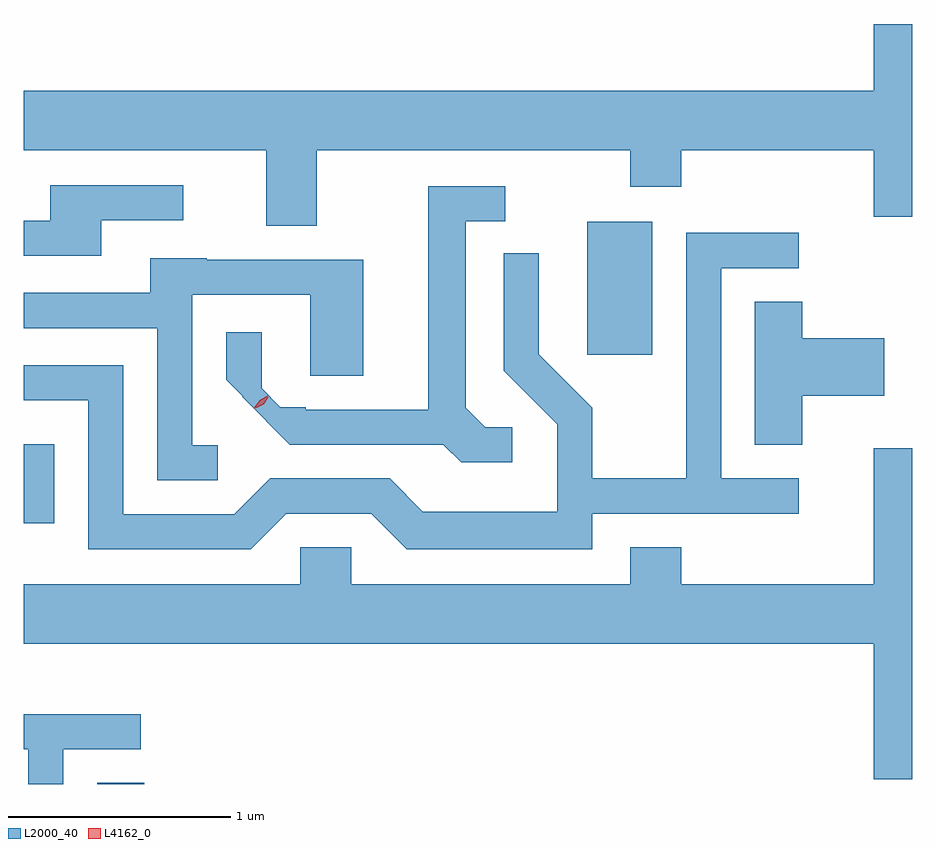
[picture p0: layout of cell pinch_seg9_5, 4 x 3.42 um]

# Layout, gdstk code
import gdstk
lib = gdstk.Library(unit=1e-6, precision=1e-09)
def R(c, l, rs):  # rectangles x0, y0, x1, y1
    for r in rs: c.add(gdstk.rectangle(r[:2], r[2:], *l))
def P(c, l, *ps):  # polygons
    for p in ps: c.add(gdstk.Polygon(p, *l))
L2000_40 = (2000, 40)
L4162_0 = (4162, 0)

pinch_seg9_5 = lib.new_cell('pinch_seg9_5')
R(pinch_seg9_5, L2000_40, [(1909.511,1984.524,1909.724,1984.529), (1909.18,1985.698,1909.319,1986.054), (1911.716,1986.456,1912.009,1987.054)])
P(pinch_seg9_5, L2000_40, [(1910.499,1987.376),(1911.911,1987.376),(1911.911,1987.211),(1912.139,1987.211),(1912.139,1987.376),(1913.006,1987.376),(1913.006,1987.076),(1913.18,1987.076),(1913.18,1987.944),(1913.006,1987.944),(1913.006,1987.644),(1909.18,1987.644),(1909.18,1987.376),(1910.271,1987.376),(1910.271,1987.036),(1910.499,1987.036)],
  [(1909.529,1987.061),(1909.898,1987.061),(1909.898,1987.219),(1909.301,1987.219),(1909.301,1987.059),(1909.18,1987.059),(1909.18,1986.901),(1909.529,1986.901)],
  [(1911.378,1986.129),(1911.257,1986.129),(1911.169,1986.217),(1911.169,1987.056),(1911.348,1987.056),(1911.348,1987.214),(1911.001,1987.214),(1911.001,1986.209),(1910.45,1986.209),(1910.45,1986.22),(1910.336,1986.22),(1910.251,1986.305),(1910.251,1986.558),(1910.091,1986.558),(1910.091,1986.343),(1910.166,1986.268),(1910.163,1986.266),(1910.378,1986.051),(1911.069,1986.051),(1911.149,1985.971),(1911.378,1985.971)],
  [(1910.362,1985.741),(1910.744,1985.741),(1910.904,1985.581),(1911.739,1985.581),(1911.739,1985.741),(1912.668,1985.741),(1912.668,1985.899),(1912.319,1985.899),(1912.319,1986.846),(1912.668,1986.846),(1912.668,1987.004),(1912.161,1987.004),(1912.161,1985.899),(1911.739,1985.899),(1911.739,1986.217),(1911.499,1986.457),(1911.499,1986.913),(1911.341,1986.913),(1911.341,1986.384),(1911.581,1986.144),(1911.581,1985.749),(1910.977,1985.749),(1910.827,1985.899),(1910.289,1985.899),(1910.129,1985.739),(1909.629,1985.739),(1909.629,1986.409),(1909.18,1986.409),(1909.18,1986.251),(1909.471,1986.251),(1909.471,1985.581),(1910.202,1985.581)],
  [(1910.053,1986.049),(1909.939,1986.049),(1909.939,1986.726),(1910.471,1986.726),(1910.471,1986.361),(1910.709,1986.361),(1910.709,1986.884),(1910.005,1986.884),(1910.005,1986.889),(1909.751,1986.889),(1909.751,1986.734),(1909.18,1986.734),(1909.18,1986.576),(1909.781,1986.576),(1909.781,1985.891),(1910.053,1985.891)],
  [(1912.684,1986.271),(1913.054,1986.271),(1913.054,1986.529),(1912.684,1986.529),(1912.684,1986.694),(1912.471,1986.694),(1912.471,1986.051),(1912.684,1986.051)],
  [(1913.18,1986.034),(1913.006,1986.034),(1913.006,1985.424),(1912.139,1985.424),(1912.139,1985.589),(1911.911,1985.589),(1911.911,1985.424),(1910.654,1985.424),(1910.654,1985.589),(1910.426,1985.589),(1910.426,1985.424),(1909.18,1985.424),(1909.18,1985.156),(1913.006,1985.156),(1913.006,1984.546),(1913.18,1984.546)],
  [(1909.359,1984.681),(1909.708,1984.681),(1909.708,1984.839),(1909.18,1984.839),(1909.18,1984.681),(1909.201,1984.681),(1909.201,1984.524),(1909.359,1984.524)])
P(pinch_seg9_5, L4162_0, [(1910.216,1986.215),(1910.216,1986.216),(1910.242,1986.252),(1910.281,1986.274),(1910.281,1986.274),(1910.281,1986.274),(1910.255,1986.237),(1910.217,1986.215)],
  [(1910.225,1986.215),(1910.225,1986.216),(1910.246,1986.248),(1910.28,1986.266),(1910.28,1986.266),(1910.28,1986.265),(1910.26,1986.233),(1910.225,1986.215)])

lib.write_gds('pinch_seg9_5.gds')
